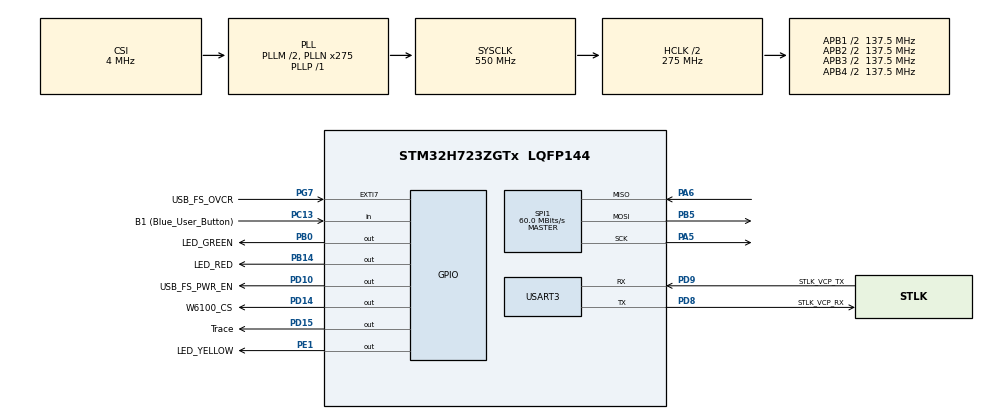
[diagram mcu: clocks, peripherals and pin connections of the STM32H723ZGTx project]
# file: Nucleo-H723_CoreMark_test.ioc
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3rdParty.I-CUBE-CoreMark.0.1.0.ApplicationCcDeviceJjApplication=CoreMarkApp
3rdParty.I-CUBE-CoreMark.0.1.0.ITERATIONS=20000
3rdParty.I-CUBE-CoreMark.0.1.0.PRINTF_UART_PORT=huart3
3rdParty.I-CUBE-CoreMark.0.1.0.UtilityJjMISC=true
CORTEX_M7.CPU_DCache=Disabled
CORTEX_M7.CPU_ICache=Disabled
CORTEX_M7.default_mode_Activation=0
Dma.Request0=SPI1_RX
Dma.Request1=SPI1_TX
Dma.SPI1_RX.0.Direction=DMA_PERIPH_TO_MEMORY
Dma.SPI1_RX.0.EventEnable=DISABLE
Dma.SPI1_RX.0.FIFOMode=DMA_FIFOMODE_DISABLE
Dma.SPI1_RX.0.Instance=DMA1_Stream0
Dma.SPI1_RX.0.MemDataAlignment=DMA_MDATAALIGN_BYTE
Dma.SPI1_RX.0.MemInc=DMA_MINC_ENABLE
Dma.SPI1_RX.0.Mode=DMA_NORMAL
Dma.SPI1_RX.0.PeriphDataAlignment=DMA_PDATAALIGN_BYTE
Dma.SPI1_RX.0.PeriphInc=DMA_PINC_DISABLE
Dma.SPI1_RX.0.Polarity=HAL_DMAMUX_REQ_GEN_RISING
Dma.SPI1_RX.0.Priority=DMA_PRIORITY_VERY_HIGH
Dma.SPI1_RX.0.RequestNumber=1
Dma.SPI1_RX.0.SignalID=NONE
Dma.SPI1_RX.0.SyncEnable=DISABLE
Dma.SPI1_RX.0.SyncPolarity=HAL_DMAMUX_SYNC_NO_EVENT
Dma.SPI1_RX.0.SyncRequestNumber=1
Dma.SPI1_RX.0.SyncSignalID=NONE
Dma.SPI1_TX.1.Direction=DMA_MEMORY_TO_PERIPH
Dma.SPI1_TX.1.EventEnable=DISABLE
Dma.SPI1_TX.1.FIFOMode=DMA_FIFOMODE_DISABLE
Dma.SPI1_TX.1.Instance=DMA1_Stream1
Dma.SPI1_TX.1.MemDataAlignment=DMA_MDATAALIGN_BYTE
Dma.SPI1_TX.1.MemInc=DMA_MINC_ENABLE
Dma.SPI1_TX.1.Mode=DMA_NORMAL
Dma.SPI1_TX.1.PeriphDataAlignment=DMA_PDATAALIGN_BYTE
Dma.SPI1_TX.1.PeriphInc=DMA_PINC_DISABLE
Dma.SPI1_TX.1.Polarity=HAL_DMAMUX_REQ_GEN_RISING
Dma.SPI1_TX.1.Priority=DMA_PRIORITY_VERY_HIGH
Dma.SPI1_TX.1.RequestNumber=1
Dma.SPI1_TX.1.SignalID=NONE
Dma.SPI1_TX.1.SyncEnable=DISABLE
Dma.SPI1_TX.1.SyncPolarity=HAL_DMAMUX_SYNC_NO_EVENT
Dma.SPI1_TX.1.SyncRequestNumber=1
Dma.SPI1_TX.1.SyncSignalID=NONE
FREERTOS.Tasks01=defaultTask,24,512,StartDefaultTask,Default,NULL,Dynamic,NULL,NULL;CoreMark,24,1024,StartCoreMark,Default,NULL,Dynamic,NULL,NULL
FREERTOS.configTOTAL_HEAP_SIZE=30720
FREERTOS.configUSE_NEWLIB_REENTRANT=1
Mcu.Family=STM32H7
Mcu.Name=STM32H723ZGTx
Mcu.Package=LQFP144
NVIC.DMA1_Stream0_IRQn=true\:5\:0\:true\:false\:true\:true\:false\:true\:true
NVIC.DMA1_Stream1_IRQn=true\:5\:0\:false\:false\:true\:true\:false\:true\:true
NVIC.PriorityGroup=NVIC_PRIORITYGROUP_4
NVIC.SPI1_IRQn=true\:5\:0\:false\:false\:true\:true\:true\:true\:true
NVIC.TIM6_DAC_IRQn=true\:15\:0\:false\:false\:true\:false\:false\:true\:true
NVIC.TimeBase=TIM6_DAC_IRQn
NVIC.TimeBaseIP=TIM6
NVIC.USART3_IRQn=true\:5\:0\:false\:false\:true\:true\:true\:true\:true
PA1.GPIO_Label=RMII_REF_CLK
PA1.Signal=ETH_REF_CLK
PA10.GPIO_Label=USB_FS_ID
PA10.Signal=USB_OTG_HS_ID
PA13(JTMS/SWDIO).GPIO_Label=SWDIO
PA13(JTMS/SWDIO).Mode=Trace_Asynchronous_SW
PA13(JTMS/SWDIO).Signal=DEBUG_JTMS-SWDIO
PA14(JTCK/SWCLK).GPIO_Label=SWCLK
PA14(JTCK/SWCLK).Mode=Trace_Asynchronous_SW
PA14(JTCK/SWCLK).Signal=DEBUG_JTCK-SWCLK
PA2.GPIO_Label=RMII_MDIO
PA2.Signal=ETH_MDIO
PA5.GPIO_Speed=GPIO_SPEED_FREQ_VERY_HIGH
PA5.Mode=Full_Duplex_Master
PA5.Signal=SPI1_SCK
PA6.GPIO_Speed=GPIO_SPEED_FREQ_VERY_HIGH
PA6.Mode=Full_Duplex_Master
PA6.Signal=SPI1_MISO
PA7.GPIO_Label=RMII_CRS_DV
PA7.Signal=ETH_CRS_DV
PA9.GPIO_Label=USB_FS_VBUS
PA9.Signal=USB_OTG_HS_VBUS
PB0.GPIO_Label=LED_GREEN
PB0.Signal=GPIO_Output
PB13.GPIO_Label=RMII_TXD1
PB13.Signal=ETH_TXD1
PB14.GPIO_Label=LED_RED
PB14.Signal=GPIO_Output
PB3(JTDO/TRACESWO).GPIO_Label=SWO
PB3(JTDO/TRACESWO).Mode=Trace_Asynchronous_SW
PB3(JTDO/TRACESWO).Signal=DEBUG_JTDO-SWO
PB5.GPIO_Speed=GPIO_SPEED_FREQ_VERY_HIGH
PB5.Mode=Full_Duplex_Master
PB5.Signal=SPI1_MOSI
PC1.GPIO_Label=RMII_MDC
PC1.Signal=ETH_MDC
PC13.GPIO_Label=B1 (Blue_User_Button)
PC13.Signal=GPIO_Input
PC14-OSC32_IN.Mode=LSE-External-Oscillator
PC14-OSC32_IN.Signal=RCC_OSC32_IN
PC15-OSC32_OUT.Mode=LSE-External-Oscillator
PC15-OSC32_OUT.Signal=RCC_OSC32_OUT
PC4.GPIO_Label=RMII_RXD0
PC4.Signal=ETH_RXD0
PC5.GPIO_Label=RMII_RXD1
PC5.Signal=ETH_RXD1
PD10.GPIO_Label=USB_FS_PWR_EN
PD10.Signal=GPIO_Output
PD14.GPIO_Label=W6100_CS
PD14.GPIO_Speed=GPIO_SPEED_FREQ_VERY_HIGH
PD14.Signal=GPIO_Output
PD15.GPIO_Label=Trace
PD15.GPIO_Speed=GPIO_SPEED_FREQ_VERY_HIGH
PD15.Signal=GPIO_Output
PD8.GPIO_Label=STLK_VCP_RX
PD8.GPIO_Speed=GPIO_SPEED_FREQ_VERY_HIGH
PD8.Mode=Asynchronous
PD8.Signal=USART3_TX
PD9.GPIO_Label=STLK_VCP_TX
PD9.GPIO_Speed=GPIO_SPEED_FREQ_VERY_HIGH
PD9.Mode=Asynchronous
PD9.Signal=USART3_RX
PE1.GPIO_Label=LED_YELLOW
PE1.Signal=GPIO_Output
PG11.GPIO_Label=RMII_TX_EN
PG11.Signal=ETH_TX_EN
PG13.GPIO_Label=RMII_TXD0
PG13.Signal=ETH_TXD0
PG7.GPIO_Label=USB_FS_OVCR
PG7.Signal=GPXTI7
PH0-OSC_IN.GPIO_Label=MCO
PH0-OSC_IN.Signal=RCC_OSC_IN
PH1-OSC_OUT.Signal=RCC_OSC_OUT
ProjectManager.HeapSize=0x1000
ProjectManager.StackSize=0x4000
ProjectManager.TargetToolchain=STM32CubeIDE
RCC.ADCFreq_Value=120000000
RCC.APB1Freq_Value=137500000
RCC.APB2Freq_Value=137500000
RCC.APB3Freq_Value=137500000
RCC.APB4Freq_Value=137500000
RCC.CortexFreq_Value=550000000
RCC.D1PPRE=RCC_APB3_DIV2
RCC.D2PPRE1=RCC_APB1_DIV2
RCC.D2PPRE2=RCC_APB2_DIV2
RCC.D3PPRE=RCC_APB4_DIV2
RCC.DIVM1=2
RCC.DIVM2=2
RCC.DIVM3=2
RCC.DIVN1=275
RCC.DIVN2=120
RCC.DIVN3=140
RCC.DIVP1=1
RCC.DIVQ1=4
RCC.HCLKFreq_Value=275000000
RCC.HPRE=RCC_HCLK_DIV2
RCC.HSE_VALUE=8000000
RCC.PLLFRACN=0
RCC.PLLSourceVirtual=RCC_PLLSOURCE_CSI
RCC.SPI123CLockSelection=RCC_SPI123CLKSOURCE_PLL2
RCC.SYSCLKFreq_VALUE=550000000
RCC.SYSCLKSource=RCC_SYSCLKSOURCE_PLLCLK
RCC.USBCLockSelection=RCC_USBCLKSOURCE_HSI48
RCC.USBFreq_Value=48000000
SPI1.CalculateBaudRate=60.0 MBits/s
SPI1.DataSize=SPI_DATASIZE_8BIT
SPI1.Direction=SPI_DIRECTION_2LINES
SPI1.Mode=SPI_MODE_MASTER
SPI1.VirtualType=VM_MASTER
USART3.VirtualMode-Asynchronous=VM_ASYNC
VP_3rdParty.I-CUBE-CoreMark_VS_DeviceJjApplication_0.1.0_0.1.0.Mode=DeviceJjApplication
VP_3rdParty.I-CUBE-CoreMark_VS_UtilityJjMISC_0.1.0_0.1.0.Mode=UtilityJjMISC
VP_FREERTOS_VS_CMSIS_V2.Mode=CMSIS_V2
VP_SYS_VS_tim6.Mode=TIM6
board=NUCLEO-H723ZG

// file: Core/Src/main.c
/* USER CODE BEGIN Header */
/**
  ******************************************************************************
  * @file           : main.c
  * @brief          : Main program body
  ******************************************************************************
  * @attention
  *
  * Copyright (c) 2023 STMicroelectronics.
  * All rights reserved.
  *
  * This software is licensed under terms that can be found in the LICENSE file
  * in the root directory of this software component.
  * If no LICENSE file comes with this software, it is provided AS-IS.
  *
  ******************************************************************************
  */
/* USER CODE END Header */
#include "main.h"
#include "cmsis_os.h"
#include "app_coremarkapp.h"

/* USER CODE BEGIN Includes */
ee_u32 CoreMark_cnt = 0;

//#include "stdio.h"
#include "w6100.h"
#include "wizchip_conf.h"
#include "socket.h"
/* USER CODE END Includes */

/* USER CODE BEGIN PD */
#define PUTCHAR_PROTOTYPE int fputc(int ch, FILE *f)
#define ETHERNET_BUF_MAX_SIZE (1024 * 16)
#define SOCKET_TOE_IPERF 0
#define PORT_TOE_IPERF 5001
#define USE_SPI_DMA
/* USER CODE END PD */

SPI_HandleTypeDef hspi1;
DMA_HandleTypeDef hdma_spi1_rx;
DMA_HandleTypeDef hdma_spi1_tx;

UART_HandleTypeDef huart3;

/* Definitions for defaultTask */
osThreadId_t defaultTaskHandle;
const osThreadAttr_t defaultTask_attributes = {
  .name = "defaultTask",
  .stack_size = 512 * 4,
  .priority = (osPriority_t) osPriorityNormal,
};
/* Definitions for CoreMark */
osThreadId_t CoreMarkHandle;
const osThreadAttr_t CoreMark_attributes = {
  .name = "CoreMark",
  .stack_size = 1024 * 4,
  .priority = (osPriority_t) osPriorityBelowNormal,
};
/* USER CODE BEGIN PV */
static wiz_NetInfo g_net_info =
    {
        .mac = {0x00, 0x08, 0xDC, 0x12, 0x34, 0x56}, // MAC address
        .ip = {192, 168, 10, 111},                     // IP address
        .sn = {255, 255, 255, 0},                    // Subnet Mask
        .gw = {192, 168, 10, 1},                     // Gateway
        .dns = {8, 8, 8, 8},                         // DNS server
        .lla = {0xfe, 0x80, 0x00, 0x00,
                0x00, 0x00, 0x00, 0x00,
                0x02, 0x08, 0xdc, 0xff,
                0xfe, 0x57, 0x57, 0x25},             // Link Local Address
        .gua = {0x00, 0x00, 0x00, 0x00,
                0x00, 0x00, 0x00, 0x00,
                0x00, 0x00, 0x00, 0x00,
                0x00, 0x00, 0x00, 0x00},             // Global Unicast Address
        .sn6 = {0xff, 0xff, 0xff, 0xff,
                0xff, 0xff, 0xff, 0xff,
                0x00, 0x00, 0x00, 0x00,
                0x00, 0x00, 0x00, 0x00},             // IPv6 Prefix
        .gw6 = {0x00, 0x00, 0x00, 0x00,
                0x00, 0x00, 0x00, 0x00,
                0x00, 0x00, 0x00, 0x00,
                0x00, 0x00, 0x00, 0x00},             // Gateway IPv6 Address
        .dns6 = {0x20, 0x01, 0x48, 0x60,
                0x48, 0x60, 0x00, 0x00,
                0x00, 0x00, 0x00, 0x00,
                0x00, 0x00, 0x88, 0x88},             // DNS6 server
        .ipmode = NETINFO_STATIC_ALL
};

static uint8_t g_iperf_buf[ETHERNET_BUF_MAX_SIZE * 2];

/* USER CODE END PV */

void SystemClock_Config(void);
static void MX_GPIO_Init(void);
static void MX_DMA_Init(void);
static void MX_SPI1_Init(void);
static void MX_USART3_UART_Init(void);
void StartDefaultTask(void *argument);
void StartCoreMark(void *argument);

/* USER CODE BEGIN PFP */
uint8_t rxData;
/* USER CODE END PFP */

/* USER CODE BEGIN 0 */
static inline void wizchip_select(void)
{
    HAL_GPIO_WritePin(W6100_CS_GPIO_Port, W6100_CS_Pin, GPIO_PIN_RESET);
}

static inline void wizchip_deselect(void)
{
    HAL_GPIO_WritePin(W6100_CS_GPIO_Port, W6100_CS_Pin, GPIO_PIN_SET);
}

void wizchip_reset()
{

}

static uint8_t wizchip_read(void)
{
    uint8_t rx_data = 0;
    uint8_t tx_data = 0xFF;

		while (HAL_SPI_GetState(&hspi1) != HAL_SPI_STATE_READY);
    HAL_SPI_TransmitReceive(&hspi1, &tx_data, &rx_data, 1, 10);
    while (HAL_SPI_GetState(&hspi1) == HAL_SPI_STATE_BUSY_RX);

    return rx_data;
}

static void wizchip_write(uint8_t tx_data)
{
		uint8_t rtnByte;

    while (HAL_SPI_GetState(&hspi1) != HAL_SPI_STATE_READY);
    HAL_SPI_TransmitReceive(&hspi1, &tx_data, &rtnByte, 1, 10);
    while (HAL_SPI_GetState(&hspi1) == HAL_SPI_STATE_BUSY_TX);
}

#ifndef USE_SPI_DMA
static void wizchip_read_buf(uint8_t* rx_data, datasize_t len)
{
    uint8_t tx_data = 0xFF;

		while (HAL_SPI_GetState(&hspi1) != HAL_SPI_STATE_READY);
    HAL_SPI_TransmitReceive(&hspi1, &tx_data, rx_data, len, 10);
    while (HAL_SPI_GetState(&hspi1) == HAL_SPI_STATE_BUSY_RX);
}

static void wizchip_write_buf(uint8_t* tx_data, datasize_t len)
{
		uint8_t rtnByte;

    while (HAL_SPI_GetState(&hspi1) != HAL_SPI_STATE_READY);
    HAL_SPI_TransmitReceive(&hspi1, tx_data, &rtnByte, len, 10);
    while (HAL_SPI_GetState(&hspi1) == HAL_SPI_STATE_BUSY_TX);
}

#else

static void wizchip_read_burst(uint8_t *pBuf, uint16_t len)
{
	HAL_SPI_Receive_DMA(&hspi1, pBuf, len);
  while (HAL_DMA_GetState(hspi1.hdmarx) == HAL_DMA_STATE_BUSY);
  while (HAL_SPI_GetState(&hspi1) == HAL_SPI_STATE_BUSY_RX);

	return;
}

static void wizchip_write_burst(uint8_t *pBuf, uint16_t len)
{
  HAL_SPI_Transmit_DMA(&hspi1, pBuf, len);
  while (HAL_DMA_GetState(hspi1.hdmatx) == HAL_DMA_STATE_BUSY);
  while (HAL_SPI_GetState(&hspi1) == HAL_SPI_STATE_BUSY_TX);

	return;
}
#endif

static void wizchip_critical_section_lock(void)
{
    __disable_irq();
}

static void wizchip_critical_section_unlock(void)
{
    __enable_irq();
}

void wizchip_spi_initialize(void)
{

}

void wizchip_cris_initialize(void)
{
	reg_wizchip_cris_cbfunc(wizchip_critical_section_lock, wizchip_critical_section_unlock);
}

void wizchip_initialize(void)
{
    /* Deselect the FLASH : chip select high */
    wizchip_deselect();

    /* CS function register */
    reg_wizchip_cs_cbfunc(wizchip_select, wizchip_deselect);

    /* SPI function register */
#ifdef USE_SPI_DMA
    reg_wizchip_spi_cbfunc(wizchip_read, wizchip_write, wizchip_read_burst, wizchip_write_burst);
#else
    reg_wizchip_spi_cbfunc(wizchip_read, wizchip_write, wizchip_read_buf, wizchip_write_buf);
#endif

    /* W5x00 initialize */
    uint8_t temp;

#if (_WIZCHIP_ == W5100S)
    uint8_t memsize[2][4] = {{2, 2, 2, 2}, {2, 2, 2, 2}};
#elif (_WIZCHIP_ == W5500)
    uint8_t memsize[2][8] = {{16, 0, 0, 0, 0, 0, 0, 0}, {16, 0, 0, 0, 0, 0, 0, 0}};
#elif (_WIZCHIP_ == W6100)
    //uint8_t memsize[2][8] = {{2, 2, 2, 2, 2, 2, 2, 2}, {2, 2, 2, 2, 2, 2, 2, 2}};
    uint8_t memsize[2][8] = {{16, 0, 0, 0, 0, 0, 0, 0}, {16, 0, 0, 0, 0, 0, 0, 0}};
#endif

    if (ctlwizchip(CW_INIT_WIZCHIP, (void *)memsize) == -1)
    {
        printf(" W5x00 initialized fail\n");

        return;
    }
#if 0
    /* Check PHY link status */
    do
    {
        if (ctlwizchip(CW_GET_PHYLINK, (void *)&temp) == -1)
        {
            printf(" Unknown PHY link status\n");

            return;
        }
    } while (temp == PHY_LINK_OFF);
#endif
}

void wizchip_check(void)
{
#if (_WIZCHIP_ == W5100S)
    /* Read version register */
    //if (getVER() != 0x51)
    {
        printf(" ACCESS ERR : VERSION != 0x51, read value = 0x%02x\n", getVER());

        //while (1);
    }
#elif (_WIZCHIP_ == W5500)
    /* Read version register */
    if (getVERSIONR() != 0x04)
    {
        printf(" ACCESS ERR : VERSION != 0x04, read value = 0x%02x\n", getVERSIONR());

        while (1)
            ;
    }
#elif (_WIZCHIP_ == W6100)
    uint16_t ver_val;
    /* Read version register */
    ver_val = getCIDR();
    if (ver_val != 0x6100)
    {
        printf(" ACCESS ERR : VERSION != 0x6100, read value = 0x%04x\n", ver_val);

        while (1)
            ;
    }
#endif
}

/* Network */
void network_initialize(wiz_NetInfo net_info)
{
    uint8_t syslock = SYS_NET_LOCK;
    ctlwizchip(CW_SYS_UNLOCK, &syslock);
    ctlnetwork(CN_SET_NETINFO, (void *)&net_info);
}

void print_network_information(wiz_NetInfo net_info)
{
    uint8_t tmp_str[8] = {
        0,
    };

    ctlnetwork(CN_GET_NETINFO, (void *)&net_info);
    ctlwizchip(CW_GET_ID, (void *)tmp_str);

    printf("==========================================================\n");
    printf(" %s network configuration\n\n", (char *)tmp_str);

    printf(" MAC         : %02X:%02X:%02X:%02X:%02X:%02X\n", net_info.mac[0], net_info.mac[1], net_info.mac[2], net_info.mac[3], net_info.mac[4], net_info.mac[5]);
    printf(" IP          : %d.%d.%d.%d\n", net_info.ip[0], net_info.ip[1], net_info.ip[2], net_info.ip[3]);
    printf(" Subnet Mask : %d.%d.%d.%d\n", net_info.sn[0], net_info.sn[1], net_info.sn[2], net_info.sn[3]);
    printf(" Gateway     : %d.%d.%d.%d\n", net_info.gw[0], net_info.gw[1], net_info.gw[2], net_info.gw[3]);
    printf(" DNS         : %d.%d.%d.%d\n", net_info.dns[0], net_info.dns[1], net_info.dns[2], net_info.dns[3]);
    print_ipv6_addr(" GW6 ", net_info.gw6);
    print_ipv6_addr(" LLA ", net_info.lla);
    print_ipv6_addr(" GUA ", net_info.gua);
    print_ipv6_addr(" SUB6", net_info.sn6);
    print_ipv6_addr(" DNS6", net_info.dns6);
    printf("==========================================================\n\n");
}

void print_ipv6_addr(uint8_t* name, uint8_t* ip6addr)
{
	printf("%s        : ", name);
	printf("%04X:%04X", ((uint16_t)ip6addr[0] << 8) | ((uint16_t)ip6addr[1]), ((uint16_t)ip6addr[2] << 8) | ((uint16_t)ip6addr[3]));
	printf(":%04X:%04X", ((uint16_t)ip6addr[4] << 8) | ((uint16_t)ip6addr[5]), ((uint16_t)ip6addr[6] << 8) | ((uint16_t)ip6addr[7]));
	printf(":%04X:%04X", ((uint16_t)ip6addr[8] << 8) | ((uint16_t)ip6addr[9]), ((uint16_t)ip6addr[10] << 8) | ((uint16_t)ip6addr[11]));
	printf(":%04X:%04X\r\n", ((uint16_t)ip6addr[12] << 8) | ((uint16_t)ip6addr[13]), ((uint16_t)ip6addr[14] << 8) | ((uint16_t)ip6addr[15]));
}

/* USER CODE END 0 */

int main(void)
{
  /* USER CODE BEGIN 1 */

	uint8_t temp_ver[2]={0,};
	PLL2_ClocksTypeDef PLL2_Clk_data;
	uint16_t temp_presc = 1, temp_presc_set, temp_presc_cnt = 0;
	int i = 0;
  /* USER CODE END 1 */

  /* MCU Configuration--------------------------------------------------------*/

  /* Reset of all peripherals, Initializes the Flash interface and the Systick. */
  HAL_Init();

  /* Configure the system clock */
  SystemClock_Config();

  /* Initialize all configured peripherals */
  MX_GPIO_Init();
  MX_DMA_Init();
  MX_SPI1_Init();
  MX_USART3_UART_Init();
  //MX_CoreMarkApp_Init();
  /* USER CODE BEGIN 2 */
  HAL_UART_Receive_IT(&huart3, &rxData, 1);
    printf("< W6100 clock TEST!! >\r\n");
    //W6100CsDisable();
    HAL_RCCEx_GetPLL2ClockFreq(&PLL2_Clk_data);
      printf("SET PLL2 P:%ld, Q:%ld, R:%ld \r\n", PLL2_Clk_data.PLL2_P_Frequency, PLL2_Clk_data.PLL2_Q_Frequency, PLL2_Clk_data.PLL2_R_Frequency);
      temp_presc_set = (hspi1.Init.BaudRatePrescaler>>(4*7));
      printf("pre = %d\r\n", temp_presc_set);
      for(temp_presc_cnt = 0; temp_presc_cnt < temp_presc_set; temp_presc_cnt++)
      {
      	temp_presc = temp_presc*2;
      }
      printf("SPI CLK %d Mhz \r\n", (int)(PLL2_Clk_data.PLL2_P_Frequency / (2*temp_presc) / 1000000));
  printf("iperf Test TOE\r\n");
  //HAL_UART_Transmit(&huart3, "iperf Test TOE1\r\n", 17, 10);
  printf("GetSysClockFreq = %dhz\r\n", HAL_RCC_GetSysClockFreq());
	wizchip_reset();
	wizchip_initialize();
	wizchip_check();

  network_initialize(g_net_info);
  print_network_information(g_net_info);

  /* USER CODE END 2 */

  /* Init scheduler */
  osKernelInitialize();

  /* Create the thread(s) */
  /* creation of defaultTask */
  defaultTaskHandle = osThreadNew(StartDefaultTask, NULL, &defaultTask_attributes);

  /* creation of CoreMark */
  CoreMarkHandle = osThreadNew(StartCoreMark, NULL, &CoreMark_attributes);

  /* Start scheduler */
  osKernelStart();

  /* We should never get here as control is now taken by the scheduler */
  /* Infinite loop */
  while (1)
  {

  }
}

void SystemClock_Config(void)
{
  RCC_OscInitTypeDef RCC_OscInitStruct = {0};
  RCC_ClkInitTypeDef RCC_ClkInitStruct = {0};

  /** Supply configuration update enable
  */
  HAL_PWREx_ConfigSupply(PWR_LDO_SUPPLY);

  /** Configure the main internal regulator output voltage
  */
  __HAL_PWR_VOLTAGESCALING_CONFIG(PWR_REGULATOR_VOLTAGE_SCALE0);

  while(!__HAL_PWR_GET_FLAG(PWR_FLAG_VOSRDY)) {}

  /** Initializes the RCC Oscillators according to the specified parameters
  * in the RCC_OscInitTypeDef structure.
  */
  RCC_OscInitStruct.OscillatorType = RCC_OSCILLATORTYPE_CSI;
  RCC_OscInitStruct.CSIState = RCC_CSI_ON;
  RCC_OscInitStruct.CSICalibrationValue = 16;
  RCC_OscInitStruct.PLL.PLLState = RCC_PLL_ON;
  RCC_OscInitStruct.PLL.PLLSource = RCC_PLLSOURCE_CSI;
  RCC_OscInitStruct.PLL.PLLM = 2;
  RCC_OscInitStruct.PLL.PLLN = 275;
  RCC_OscInitStruct.PLL.PLLP = 1;
  RCC_OscInitStruct.PLL.PLLQ = 4;
  RCC_OscInitStruct.PLL.PLLR = 2;
  RCC_OscInitStruct.PLL.PLLRGE = RCC_PLL1VCIRANGE_1;
  RCC_OscInitStruct.PLL.PLLVCOSEL = RCC_PLL1VCOWIDE;
  RCC_OscInitStruct.PLL.PLLFRACN = 0;
  if (HAL_RCC_OscConfig(&RCC_OscInitStruct) != HAL_OK)
  {
    Error_Handler();
  }

  /** Initializes the CPU, AHB and APB buses clocks
  */
  RCC_ClkInitStruct.ClockType = RCC_CLOCKTYPE_HCLK|RCC_CLOCKTYPE_SYSCLK
                              |RCC_CLOCKTYPE_PCLK1|RCC_CLOCKTYPE_PCLK2
                              |RCC_CLOCKTYPE_D3PCLK1|RCC_CLOCKTYPE_D1PCLK1;
  RCC_ClkInitStruct.SYSCLKSource = RCC_SYSCLKSOURCE_PLLCLK;
  RCC_ClkInitStruct.SYSCLKDivider = RCC_SYSCLK_DIV1;
  RCC_ClkInitStruct.AHBCLKDivider = RCC_HCLK_DIV2;
  RCC_ClkInitStruct.APB3CLKDivider = RCC_APB3_DIV2;
  RCC_ClkInitStruct.APB1CLKDivider = RCC_APB1_DIV2;
  RCC_ClkInitStruct.APB2CLKDivider = RCC_APB2_DIV2;
  RCC_ClkInitStruct.APB4CLKDivider = RCC_APB4_DIV2;

  if (HAL_RCC_ClockConfig(&RCC_ClkInitStruct, FLASH_LATENCY_3) != HAL_OK)
  {
    Error_Handler();
  }
}

static void MX_SPI1_Init(void)
{

  /* SPI1 parameter configuration*/
  hspi1.Instance = SPI1;
  hspi1.Init.Mode = SPI_MODE_MASTER;
  hspi1.Init.Direction = SPI_DIRECTION_2LINES;
  hspi1.Init.DataSize = SPI_DATASIZE_8BIT;
  hspi1.Init.CLKPolarity = SPI_POLARITY_LOW;
  hspi1.Init.CLKPhase = SPI_PHASE_1EDGE;
  hspi1.Init.NSS = SPI_NSS_SOFT;
  hspi1.Init.BaudRatePrescaler = SPI_BAUDRATEPRESCALER_2;
  hspi1.Init.FirstBit = SPI_FIRSTBIT_MSB;
  hspi1.Init.TIMode = SPI_TIMODE_DISABLE;
  hspi1.Init.CRCCalculation = SPI_CRCCALCULATION_DISABLE;
  hspi1.Init.CRCPolynomial = 0x0;
  hspi1.Init.NSSPMode = SPI_NSS_PULSE_ENABLE;
  hspi1.Init.NSSPolarity = SPI_NSS_POLARITY_LOW;
  hspi1.Init.FifoThreshold = SPI_FIFO_THRESHOLD_01DATA;
  hspi1.Init.TxCRCInitializationPattern = SPI_CRC_INITIALIZATION_ALL_ZERO_PATTERN;
  hspi1.Init.RxCRCInitializationPattern = SPI_CRC_INITIALIZATION_ALL_ZERO_PATTERN;
  hspi1.Init.MasterSSIdleness = SPI_MASTER_SS_IDLENESS_00CYCLE;
  hspi1.Init.MasterInterDataIdleness = SPI_MASTER_INTERDATA_IDLENESS_00CYCLE;
  hspi1.Init.MasterReceiverAutoSusp = SPI_MASTER_RX_AUTOSUSP_DISABLE;
  hspi1.Init.MasterKeepIOState = SPI_MASTER_KEEP_IO_STATE_DISABLE;
  hspi1.Init.IOSwap = SPI_IO_SWAP_DISABLE;
  if (HAL_SPI_Init(&hspi1) != HAL_OK)
  {
    Error_Handler();
  }

}

static void MX_USART3_UART_Init(void)
{

  huart3.Instance = USART3;
  huart3.Init.BaudRate = 115200;
  huart3.Init.WordLength = UART_WORDLENGTH_8B;
  huart3.Init.StopBits = UART_STOPBITS_1;
  huart3.Init.Parity = UART_PARITY_NONE;
  huart3.Init.Mode = UART_MODE_TX_RX;
  huart3.Init.HwFlowCtl = UART_HWCONTROL_NONE;
  huart3.Init.OverSampling = UART_OVERSAMPLING_16;
  huart3.Init.OneBitSampling = UART_ONE_BIT_SAMPLE_DISABLE;
  huart3.Init.ClockPrescaler = UART_PRESCALER_DIV1;
  huart3.AdvancedInit.AdvFeatureInit = UART_ADVFEATURE_NO_INIT;
  if (HAL_UART_Init(&huart3) != HAL_OK)
  {
    Error_Handler();
  }
  if (HAL_UARTEx_SetTxFifoThreshold(&huart3, UART_TXFIFO_THRESHOLD_1_8) != HAL_OK)
  {
    Error_Handler();
  }
  if (HAL_UARTEx_SetRxFifoThreshold(&huart3, UART_RXFIFO_THRESHOLD_1_8) != HAL_OK)
  {
    Error_Handler();
  }
  if (HAL_UARTEx_DisableFifoMode(&huart3) != HAL_OK)
  {
    Error_Handler();
  }

}

static void MX_DMA_Init(void)
{

  /* DMA controller clock enable */
  __HAL_RCC_DMA1_CLK_ENABLE();

  /* DMA interrupt init */
  /* DMA1_Stream0_IRQn interrupt configuration */
  HAL_NVIC_SetPriority(DMA1_Stream0_IRQn, 5, 0);
  HAL_NVIC_EnableIRQ(DMA1_Stream0_IRQn);
  /* DMA1_Stream1_IRQn interrupt configuration */
  HAL_NVIC_SetPriority(DMA1_Stream1_IRQn, 5, 0);
  HAL_NVIC_EnableIRQ(DMA1_Stream1_IRQn);

}

static void MX_GPIO_Init(void)
{
  GPIO_InitTypeDef GPIO_InitStruct = {0};

  /* GPIO Ports Clock Enable */
  __HAL_RCC_GPIOC_CLK_ENABLE();
  __HAL_RCC_GPIOH_CLK_ENABLE();
  __HAL_RCC_GPIOA_CLK_ENABLE();
  __HAL_RCC_GPIOB_CLK_ENABLE();
  __HAL_RCC_GPIOD_CLK_ENABLE();
  __HAL_RCC_GPIOG_CLK_ENABLE();
  __HAL_RCC_GPIOE_CLK_ENABLE();

  /*Configure GPIO pin Output Level */
  HAL_GPIO_WritePin(GPIOB, LED_GREEN_Pin|LED_RED_Pin, GPIO_PIN_RESET);

  /*Configure GPIO pin Output Level */
  HAL_GPIO_WritePin(GPIOD, USB_FS_PWR_EN_Pin|W6100_CS_Pin|Trace_Pin, GPIO_PIN_RESET);

  /*Configure GPIO pin Output Level */
  HAL_GPIO_WritePin(LED_YELLOW_GPIO_Port, LED_YELLOW_Pin, GPIO_PIN_RESET);

  /*Configure GPIO pin : B1_Pin */
  GPIO_InitStruct.Pin = B1_Pin;
  GPIO_InitStruct.Mode = GPIO_MODE_INPUT;
  GPIO_InitStruct.Pull = GPIO_NOPULL;
  HAL_GPIO_Init(B1_GPIO_Port, &GPIO_InitStruct);

  /*Configure GPIO pins : RMII_MDC_Pin RMII_RXD0_Pin RMII_RXD1_Pin */
  GPIO_InitStruct.Pin = RMII_MDC_Pin|RMII_RXD0_Pin|RMII_RXD1_Pin;
  GPIO_InitStruct.Mode = GPIO_MODE_AF_PP;
  GPIO_InitStruct.Pull = GPIO_NOPULL;
  GPIO_InitStruct.Speed = GPIO_SPEED_FREQ_LOW;
  GPIO_InitStruct.Alternate = GPIO_AF11_ETH;
  HAL_GPIO_Init(GPIOC, &GPIO_InitStruct);

  /*Configure GPIO pins : RMII_REF_CLK_Pin RMII_MDIO_Pin RMII_CRS_DV_Pin */
  GPIO_InitStruct.Pin = RMII_REF_CLK_Pin|RMII_MDIO_Pin|RMII_CRS_DV_Pin;
  GPIO_InitStruct.Mode = GPIO_MODE_AF_PP;
  GPIO_InitStruct.Pull = GPIO_NOPULL;
  GPIO_InitStruct.Speed = GPIO_SPEED_FREQ_LOW;
  GPIO_InitStruct.Alternate = GPIO_AF11_ETH;
  HAL_GPIO_Init(GPIOA, &GPIO_InitStruct);

  /*Configure GPIO pins : LED_GREEN_Pin LED_RED_Pin */
  GPIO_InitStruct.Pin = LED_GREEN_Pin|LED_RED_Pin;
  GPIO_InitStruct.Mode = GPIO_MODE_OUTPUT_PP;
  GPIO_InitStruct.Pull = GPIO_NOPULL;
  GPIO_InitStruct.Speed = GPIO_SPEED_FREQ_LOW;
  HAL_GPIO_Init(GPIOB, &GPIO_InitStruct);

  /*Configure GPIO pin : RMII_TXD1_Pin */
  GPIO_InitStruct.Pin = RMII_TXD1_Pin;
  GPIO_InitStruct.Mode = GPIO_MODE_AF_PP;
  GPIO_InitStruct.Pull = GPIO_NOPULL;
  GPIO_InitStruct.Speed = GPIO_SPEED_FREQ_LOW;
  GPIO_InitStruct.Alternate = GPIO_AF11_ETH;
  HAL_GPIO_Init(RMII_TXD1_GPIO_Port, &GPIO_InitStruct);

  /*Configure GPIO pin : USB_FS_PWR_EN_Pin */
  GPIO_InitStruct.Pin = USB_FS_PWR_EN_Pin;
  GPIO_InitStruct.Mode = GPIO_MODE_OUTPUT_PP;
  GPIO_InitStruct.Pull = GPIO_NOPULL;
  GPIO_InitStruct.Speed = GPIO_SPEED_FREQ_LOW;
  HAL_GPIO_Init(USB_FS_PWR_EN_GPIO_Port, &GPIO_InitStruct);

  /*Configure GPIO pins : W6100_CS_Pin Trace_Pin */
  GPIO_InitStruct.Pin = W6100_CS_Pin|Trace_Pin;
  GPIO_InitStruct.Mode = GPIO_MODE_OUTPUT_PP;
  GPIO_InitStruct.Pull = GPIO_NOPULL;
  GPIO_InitStruct.Speed = GPIO_SPEED_FREQ_VERY_HIGH;
  HAL_GPIO_Init(GPIOD, &GPIO_InitStruct);

  /*Configure GPIO pin : USB_FS_OVCR_Pin */
  GPIO_InitStruct.Pin = USB_FS_OVCR_Pin;
  GPIO_InitStruct.Mode = GPIO_MODE_IT_RISING;
  GPIO_InitStruct.Pull = GPIO_NOPULL;
  HAL_GPIO_Init(USB_FS_OVCR_GPIO_Port, &GPIO_InitStruct);

  /*Configure GPIO pin : USB_FS_ID_Pin */
  GPIO_InitStruct.Pin = USB_FS_ID_Pin;
  GPIO_InitStruct.Mode = GPIO_MODE_AF_PP;
  GPIO_InitStruct.Pull = GPIO_NOPULL;
  GPIO_InitStruct.Speed = GPIO_SPEED_FREQ_LOW;
  GPIO_InitStruct.Alternate = GPIO_AF10_OTG1_HS;
  HAL_GPIO_Init(USB_FS_ID_GPIO_Port, &GPIO_InitStruct);

  /*Configure GPIO pins : RMII_TX_EN_Pin RMII_TXD0_Pin */
  GPIO_InitStruct.Pin = RMII_TX_EN_Pin|RMII_TXD0_Pin;
  GPIO_InitStruct.Mode = GPIO_MODE_AF_PP;
  GPIO_InitStruct.Pull = GPIO_NOPULL;
  GPIO_InitStruct.Speed = GPIO_SPEED_FREQ_LOW;
  GPIO_InitStruct.Alternate = GPIO_AF11_ETH;
  HAL_GPIO_Init(GPIOG, &GPIO_InitStruct);

  /*Configure GPIO pin : LED_YELLOW_Pin */
  GPIO_InitStruct.Pin = LED_YELLOW_Pin;
  GPIO_InitStruct.Mode = GPIO_MODE_OUTPUT_PP;
  GPIO_InitStruct.Pull = GPIO_NOPULL;
  GPIO_InitStruct.Speed = GPIO_SPEED_FREQ_LOW;
  HAL_GPIO_Init(LED_YELLOW_GPIO_Port, &GPIO_InitStruct);

}

/* USER CODE BEGIN 4 */

PUTCHAR_PROTOTYPE
{
    /* Implement your write code here, this is used by puts and printf for example */

    /* Place your implementation of fputc here */
    /* e.g. write a character to the USART */

    uint8_t c[1];
    c[0] = ch & 0x00FF;
    HAL_UART_Transmit(&huart3, &c[0], 1, 10);
    return ch;
}

/* USER CODE END 4 */

void StartDefaultTask(void *argument)
{
  /* USER CODE BEGIN 5 */
	uint32_t pack_len = 0;
  /* Infinite loop */
  for(;;)
  {
    switch(getSn_SR(SOCKET_TOE_IPERF))
    {
      case SOCK_ESTABLISHED :
        while(1)
        {
          getsockopt(SOCKET_TOE_IPERF, SO_RECVBUF, &pack_len);
          if (pack_len > 0)
            recv_iperf(SOCKET_TOE_IPERF, (uint8_t *)g_iperf_buf, ETHERNET_BUF_MAX_SIZE / 2);

        }
      case SOCK_CLOSE_WAIT :
        disconnect(SOCKET_TOE_IPERF);
        break;
      case SOCK_INIT :
        listen(SOCKET_TOE_IPERF);
        break;
      case SOCK_CLOSED:
        socket(SOCKET_TOE_IPERF, Sn_MR_TCP4, PORT_TOE_IPERF, SOCK_IO_NONBLOCK);
        break;
      default:
        break;
    }
    //osDelay(1);
  }
  /* USER CODE END 5 */
}

void StartCoreMark(void *argument)
{
  /* USER CODE BEGIN StartCoreMark */
	printf("Start Core Mark Task\r\n");
  MX_CoreMarkApp_Init();
  /* Infinite loop */
  for(;;)
  {
    osDelay(1000);
  }
  /* USER CODE END StartCoreMark */
}

void HAL_TIM_PeriodElapsedCallback(TIM_HandleTypeDef *htim)
{
  if (htim->Instance == TIM6) {
    HAL_IncTick();
  }
}

void Error_Handler(void)
{
  __disable_irq();
  while (1)
  {
  }
}
